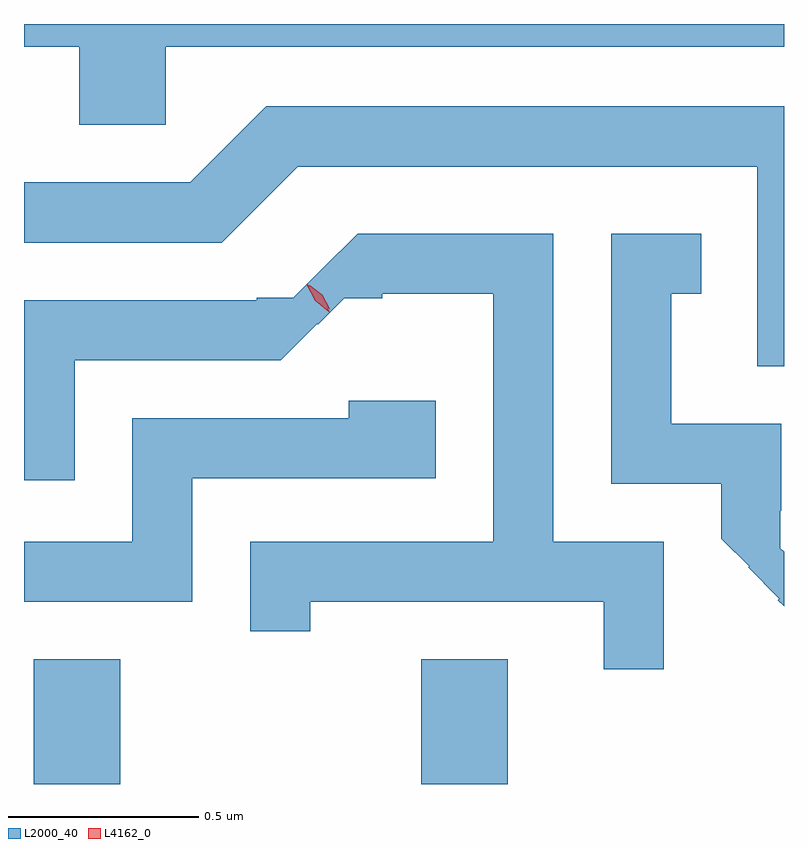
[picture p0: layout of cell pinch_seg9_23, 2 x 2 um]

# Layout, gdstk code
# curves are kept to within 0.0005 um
import gdstk
lib = gdstk.Library(unit=1e-6, precision=1e-09)
def R(c, l, rs):  # rectangles x0, y0, x1, y1
    for r in rs: c.add(gdstk.rectangle(r[:2], r[2:], *l))
def P(c, l, *ps):  # polygons
    for p in ps: c.add(gdstk.Polygon(p, *l))
L2000_40 = (2000, 40)
L4162_0 = (4162, 0)

pinch_seg9_23 = lib.new_cell('pinch_seg9_23')
R(pinch_seg9_23, L2000_40, [(851.301,1980.996,851.529,1981.324), (852.321,1980.996,852.549,1981.324)])
P(pinch_seg9_23, L2000_40, [(851.649,1982.936),(853.276,1982.936),(853.276,1982.996),(851.276,1982.996),(851.276,1982.936),(851.421,1982.936),(851.421,1982.731),(851.649,1982.731)],
  [(853.276,1982.779),(851.914,1982.779),(851.714,1982.579),(851.276,1982.579),(851.276,1982.421),(851.797,1982.421),(851.997,1982.621),(853.206,1982.621),(853.206,1982.096),(853.276,1982.096)],
  [(853.276,1981.607),(853.266,1981.617),(853.266,1981.715),(853.269,1981.715),(853.269,1981.944),(852.979,1981.944),(852.979,1982.286),(853.058,1982.286),(853.058,1982.444),(852.821,1982.444),(852.821,1981.786),(853.111,1981.786),(853.111,1981.642),(853.184,1981.569),(853.182,1981.566),(853.264,1981.484),(853.26,1981.48),(853.276,1981.464)],
  [(852.959,1981.634),(852.669,1981.634),(852.669,1982.444),(852.154,1982.444),(851.985,1982.276),(851.889,1982.276),(851.889,1982.269),(851.276,1982.269),(851.276,1981.796),(851.409,1981.796),(851.409,1982.111),(851.952,1982.111),(852.048,1982.207),(852.049,1982.205),(852.119,1982.274),(852.219,1982.274),(852.219,1982.286),(852.511,1982.286),(852.511,1981.634),(851.871,1981.634),(851.871,1981.398),(852.029,1981.398),(852.029,1981.476),(852.801,1981.476),(852.801,1981.298),(852.959,1981.298)],
  [(851.719,1981.801),(852.359,1981.801),(852.359,1982.004),(852.131,1982.004),(852.131,1981.959),(851.561,1981.959),(851.561,1981.634),(851.276,1981.634),(851.276,1981.476),(851.719,1981.476)])
P(pinch_seg9_23, L4162_0, [(852.079,1982.238),(852.042,1982.268),(852.02,1982.31),(852.02,1982.311),(852.021,1982.311),(852.057,1982.28),(852.08,1982.238),(852.08,1982.238)],
  [(852.08,1982.246),(852.046,1982.271),(852.027,1982.309),(852.027,1982.309),(852.028,1982.309),(852.061,1982.284),(852.081,1982.247),(852.081,1982.246)])

lib.write_gds('pinch_seg9_23.gds')
